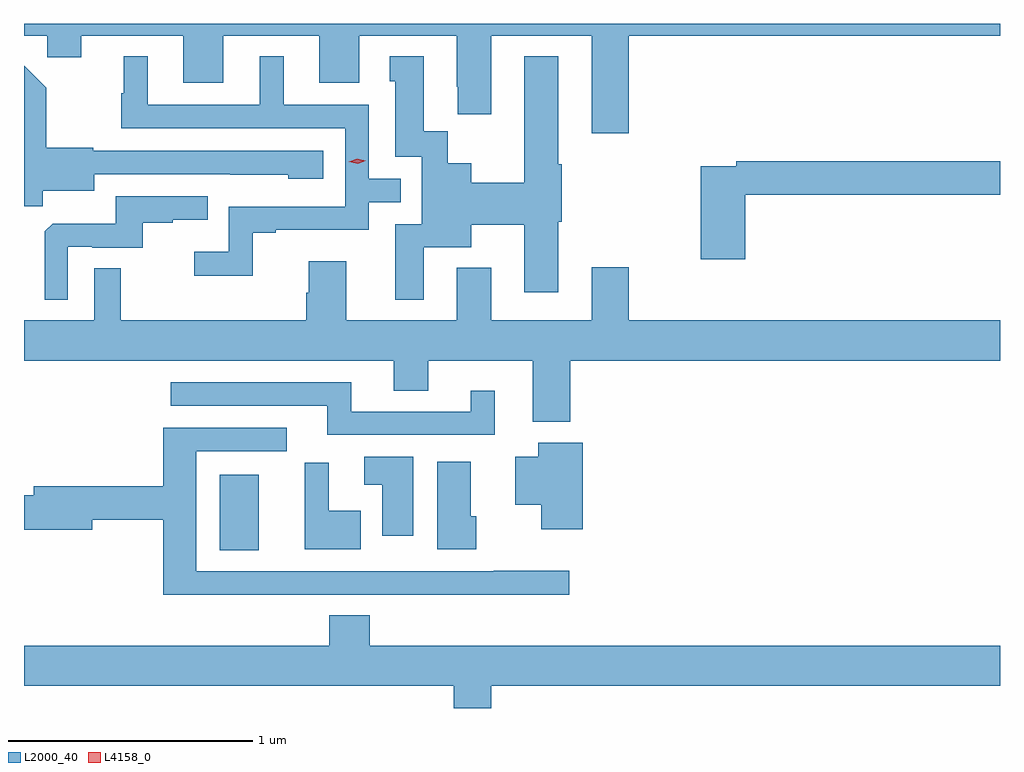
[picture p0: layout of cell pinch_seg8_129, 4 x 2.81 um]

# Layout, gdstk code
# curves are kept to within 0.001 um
import gdstk
lib = gdstk.Library(unit=1e-6, precision=1e-09)
def R(c, l, rs):  # rectangles x0, y0, x1, y1
    for r in rs: c.add(gdstk.rectangle(r[:2], r[2:], *l))
def P(c, l, *ps):  # polygons
    for p in ps: c.add(gdstk.Polygon(p, *l))
L2000_40 = (2000, 40)
L4158_0 = (4158, 0)

pinch_seg8_129 = lib.new_cell('pinch_seg8_129')
R(pinch_seg8_129, L2000_40, [(796.505,1162.342,796.666,1162.651)])
P(pinch_seg8_129, L2000_40, [(795.703,1164.452),(795.799,1164.452),(795.799,1164.362),(795.937,1164.362),(795.937,1164.452),(796.355,1164.452),(796.355,1164.258),(796.519,1164.258),(796.519,1164.452),(796.913,1164.452),(796.913,1164.258),(797.077,1164.258),(797.077,1164.452),(797.477,1164.452),(797.477,1164.241),(797.48,1164.241),(797.48,1164.129),(797.617,1164.129),(797.617,1164.452),(798.029,1164.452),(798.029,1164.051),(798.182,1164.051),(798.182,1164.452),(799.703,1164.452),(799.703,1164.5),(795.703,1164.5)],
  [(796.641,1163.643),(796.735,1163.643),(796.735,1163.655),(797.115,1163.655),(797.115,1163.769),(797.248,1163.769),(797.248,1163.865),(797.115,1163.865),(797.115,1164.168),(796.768,1164.168),(796.768,1164.367),(796.67,1164.367),(796.67,1164.168),(796.21,1164.168),(796.21,1164.367),(796.112,1164.367),(796.112,1164.216),(796.101,1164.216),(796.101,1164.072),(797.019,1164.072),(797.019,1163.751),(796.542,1163.751),(796.542,1163.566),(796.401,1163.566),(796.401,1163.468),(796.641,1163.468)],
  [(797.341,1163.585),(797.536,1163.585),(797.536,1163.677),(797.753,1163.677),(797.753,1163.4),(797.893,1163.4),(797.893,1163.688),(797.906,1163.688),(797.906,1163.925),(797.893,1163.925),(797.893,1164.367),(797.753,1164.367),(797.753,1163.849),(797.536,1163.849),(797.536,1163.929),(797.439,1163.929),(797.439,1164.059),(797.341,1164.059),(797.341,1164.367),(797.201,1164.367),(797.201,1164.264),(797.225,1164.264),(797.225,1163.955),(797.334,1163.955),(797.334,1163.679),(797.225,1163.679),(797.225,1163.37),(797.341,1163.37)],
  [(795.78,1163.816),(795.991,1163.816),(795.991,1163.883),(796.785,1163.882),(796.785,1163.864),(796.93,1163.864),(796.93,1163.979),(795.987,1163.979),(795.987,1163.992),(795.795,1163.992),(795.795,1164.237),(795.703,1164.329),(795.703,1163.752),(795.78,1163.752)],
  [(798.659,1163.8),(799.703,1163.8),(799.703,1163.936),(798.622,1163.936),(798.622,1163.916),(798.476,1163.916),(798.476,1163.535),(798.659,1163.535)],
  [(795.882,1163.586),(795.982,1163.586),(795.982,1163.583),(796.19,1163.583),(796.19,1163.685),(796.313,1163.685),(796.313,1163.696),(796.457,1163.696),(796.457,1163.793),(796.08,1163.793),(796.08,1163.681),(795.821,1163.681),(795.789,1163.649),(795.789,1163.369),(795.882,1163.369)],
  [(797.942,1163.12),(799.703,1163.12),(799.703,1163.284),(798.182,1163.284),(798.182,1163.503),(798.029,1163.503),(798.029,1163.284),(797.617,1163.284),(797.617,1163.5),(797.477,1163.5),(797.477,1163.284),(797.023,1163.284),(797.023,1163.527),(796.871,1163.527),(796.871,1163.397),(796.859,1163.397),(796.859,1163.284),(796.099,1163.284),(796.099,1163.498),(795.99,1163.498),(795.99,1163.284),(795.703,1163.284),(795.703,1163.12),(797.219,1163.12),(797.219,1162.996),(797.359,1162.996),(797.359,1163.12),(797.789,1163.12),(797.789,1162.868),(797.942,1162.868)],
  [(797.632,1162.996),(797.534,1162.996),(797.534,1162.911),(797.044,1162.911),(797.044,1163.031),(796.305,1163.031),(796.305,1162.935),(796.946,1162.935),(796.946,1162.815),(797.632,1162.815)],
  [(796.871,1162.161),(797.203,1162.161),(797.203,1162.16),(797.938,1162.16),(797.938,1162.258),(797.629,1162.258),(797.629,1162.257),(796.408,1162.257),(796.408,1162.749),(796.78,1162.749),(796.78,1162.845),(796.274,1162.845),(796.274,1162.604),(795.743,1162.604),(795.743,1162.568),(795.703,1162.568),(795.703,1162.426),(795.982,1162.426),(795.982,1162.468),(796.274,1162.468),(796.274,1162.16),(796.871,1162.16)],
  [(797.993,1162.783),(797.81,1162.783),(797.81,1162.726),(797.717,1162.726),(797.717,1162.529),(797.822,1162.529),(797.822,1162.428),(797.993,1162.428)],
  [(797.299,1162.726),(797.097,1162.726),(797.097,1162.61),(797.171,1162.61),(797.171,1162.401),(797.299,1162.401)],
  [(797.557,1162.482),(797.533,1162.482),(797.533,1162.705),(797.396,1162.705),(797.396,1162.346),(797.557,1162.346)],
  [(797.083,1162.504),(796.951,1162.504),(796.951,1162.702),(796.853,1162.702),(796.853,1162.346),(797.083,1162.346)],
  [(797.618,1161.788),(799.703,1161.788),(799.703,1161.952),(797.12,1161.952),(797.12,1162.076),(796.955,1162.076),(796.955,1161.952),(795.703,1161.952),(795.703,1161.788),(797.465,1161.788),(797.465,1161.695),(797.618,1161.695)])
P(pinch_seg8_129, L4158_0, [(797.07,1163.926),(797.034,1163.934),(797.034,1163.934),(797.034,1163.934),(797.068,1163.946),(797.104,1163.939),(797.104,1163.938),(797.104,1163.938)])

lib.write_gds('pinch_seg8_129.gds')
